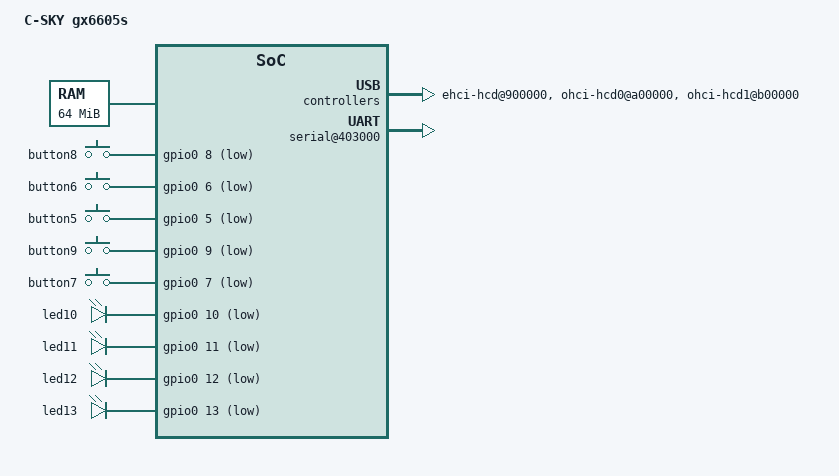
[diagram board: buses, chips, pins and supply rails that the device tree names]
/dts-v1/;
#include <dt-bindings/gpio/gpio.h>
#include <dt-bindings/input/input.h>

/ {
	model = "C-SKY gx6605s";
	compatible = "csky,gx6605s";
	#address-cells = <1>;
	#size-cells = <1>;

	memory {
		device_type = "memory";
		reg = <0x10000000 0x04000000>;
	};

	soc {
		#address-cells = <1>;
		#size-cells = <1>;
		compatible = "simple-bus";
		ranges;

		dummy_apb: apb-clock {
			compatible = "fixed-clock";
			clock-frequency = <27000000>;
			clock-output-names = "dummy_apb";
			#clock-cells = <0>;
		};

		intc: interrupt-controller@500000 {
			compatible = "csky,gx6605s-intc";
			reg = <0x00500000 0x400>;
			interrupt-controller;
			#interrupt-cells = <1>;
		};

		timer@20a000 {
			compatible = "csky,gx6605s-timer";
			reg = <0x0020a000 0x400>;
			clocks = <&dummy_apb>;
			interrupts = <10>;
			interrupt-parent = <&intc>;
		};

		ehci-hcd@900000 {
			compatible = "generic-ehci";
			reg = <0x00900000 0x400>;
			interrupt-parent = <&intc>;
			interrupts = <59>;
		};

		ohci-hcd0@a00000 {
			compatible = "generic-ohci";
			reg = <0x00a00000 0x400>;
			interrupt-parent = <&intc>;
			interrupts = <58>;
		};

		ohci-hcd1@b00000 {
			compatible = "generic-ohci";
			reg = <0x00b00000 0x400>;
			interrupt-parent = <&intc>;
			interrupts = <57>;
		};

		serial@403000 {
			compatible = "ns16550a";
			reg = <0x00403000 0x400>;
			interrupt-parent = <&intc>;
			interrupts = <15>;
			clock-frequency = <29491200>;
			baud = <115200>;
			reg-shift = <2>;
			reg-io-width = <1>;
		};

		gpio0: gpio@305000 {
			compatible = "wd,mbl-gpio";
			reg-names = "dirout", "dat", "set", "clr";
			reg = <0x305000 4>, <0x305004 4>, <0x305008 4>, <0x30500c 4>;
			bgpio-base = <0>;
			#gpio-cells = <2>;
			gpio-controller;
		};

		gpio_buttons {
			compatible = "gpio-keys-polled";
			#address-cells = <1>;
			#size-cells = <0>;
			poll-interval = <100>;
			autorepeat;

			button0 {
				label = "button8";
				linux,code = <KEY_LEFT>;
				gpios = <&gpio0 8 GPIO_ACTIVE_LOW>;
			};

			button1 {
				label = "button6";
				linux,code = <KEY_RIGHT>;
				gpios = <&gpio0 6 GPIO_ACTIVE_LOW>;
			};

			button2 {
				label = "button5";
				linux,code = <KEY_UP>;
				gpios = <&gpio0 5 GPIO_ACTIVE_LOW>;
			};

			button3 {
				label = "button9";
				linux,code = <KEY_DOWN>;
				gpios = <&gpio0 9 GPIO_ACTIVE_LOW>;
			};

			button4 {
				label = "button7";
				linux,code = <KEY_ENTER>;
				gpios = <&gpio0 7 GPIO_ACTIVE_LOW>;
			};
		};

		gpio_leds {
			compatible = "gpio-leds";

			led0 {
				label = "led10";
				gpios = <&gpio0 10 GPIO_ACTIVE_LOW>;
				linux,default-trigger = "heartbeat";
			};

			led1 {
				label = "led11";
				gpios = <&gpio0 11 GPIO_ACTIVE_LOW>;
				linux,default-trigger = "timer";
			};

			led2 {
				label = "led12";
				gpios = <&gpio0 12 GPIO_ACTIVE_LOW>;
				linux,default-trigger = "default-on";
			};

			led3 {
				label = "led13";
				gpios = <&gpio0 13 GPIO_ACTIVE_LOW>;
				linux,default-trigger = "default-on";
			};
		};
	};

	chosen {
		bootargs = "console=ttyS0,115200 init=/sbin/init root=/dev/sda2 rw rootwait";
	};
};
